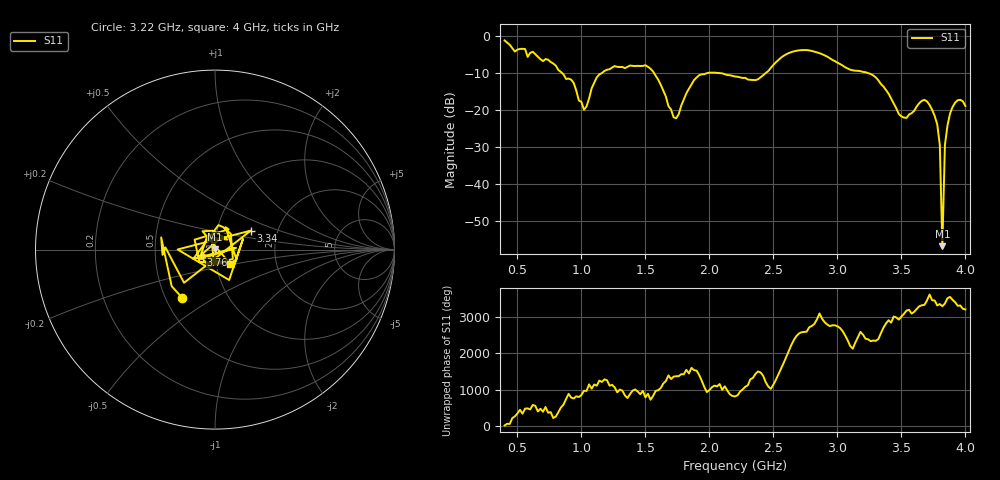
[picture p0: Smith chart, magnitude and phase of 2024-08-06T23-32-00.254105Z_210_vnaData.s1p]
!Created with skrf (http://scikit-rf.org).
# Hz S RI R 50.0
!freq ReS11 ImS11
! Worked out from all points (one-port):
!   181 points, 400 MHz to 4 GHz, reference 50 ohm
!   lowest |S11| = -56.7 dB at 3.82 GHz (marker M1), VSWR 1.00, Z = 50.1 + j0.103 ohm
!   |S11| at or under -10 dB: 1.567 GHz to 1.984 GHz (416.4 MHz wide, 23.5 % of centre); 2.076 GHz to 2.439 GHz (363.4 MHz wide, 16.1 % of centre); 3.24 GHz to end of sweep (the widest 3 of 4)
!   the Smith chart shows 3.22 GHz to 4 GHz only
!   S11 on the Smith chart (normalised r, x): 3.22 GHz: 0.61, -0.36; 3.34 GHz: 1.45, +0.32; 3.76 GHz: 0.85, -0.05; 4 GHz: 1.16, -0.19
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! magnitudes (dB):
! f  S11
! 400 MHz  -1.2
! 860 MHz  -10.3
! 940 MHz  -12.7
! 1.02 GHz  -19.9
! 1.12 GHz  -11.1
! 1.3 GHz  -8.4
! 1.54 GHz  -8.8
! 1.72 GHz  -21.9
! 1.76 GHz  -21.1
! 1.82 GHz  -15.4
! 1.92 GHz  -10.6
! 2.2 GHz  -10.9
! 2.38 GHz  -11.7
! 2.66 GHz  -4.1
! 2.86 GHz  -4.6
! 3.1 GHz  -9.1
! 3.22 GHz  -9.8
! 3.34 GHz  -12.9
! 3.48 GHz  -21.0
! 3.56 GHz  -21.2
! 3.68 GHz  -17.2
! 3.76 GHz  -21.6
! 3.8 GHz  -29.4
! 3.82 GHz  -56.7
! 3.84 GHz  -29.4
! 3.86 GHz  -24.2
! 3.92 GHz  -18.0
! 4 GHz  -18.9
